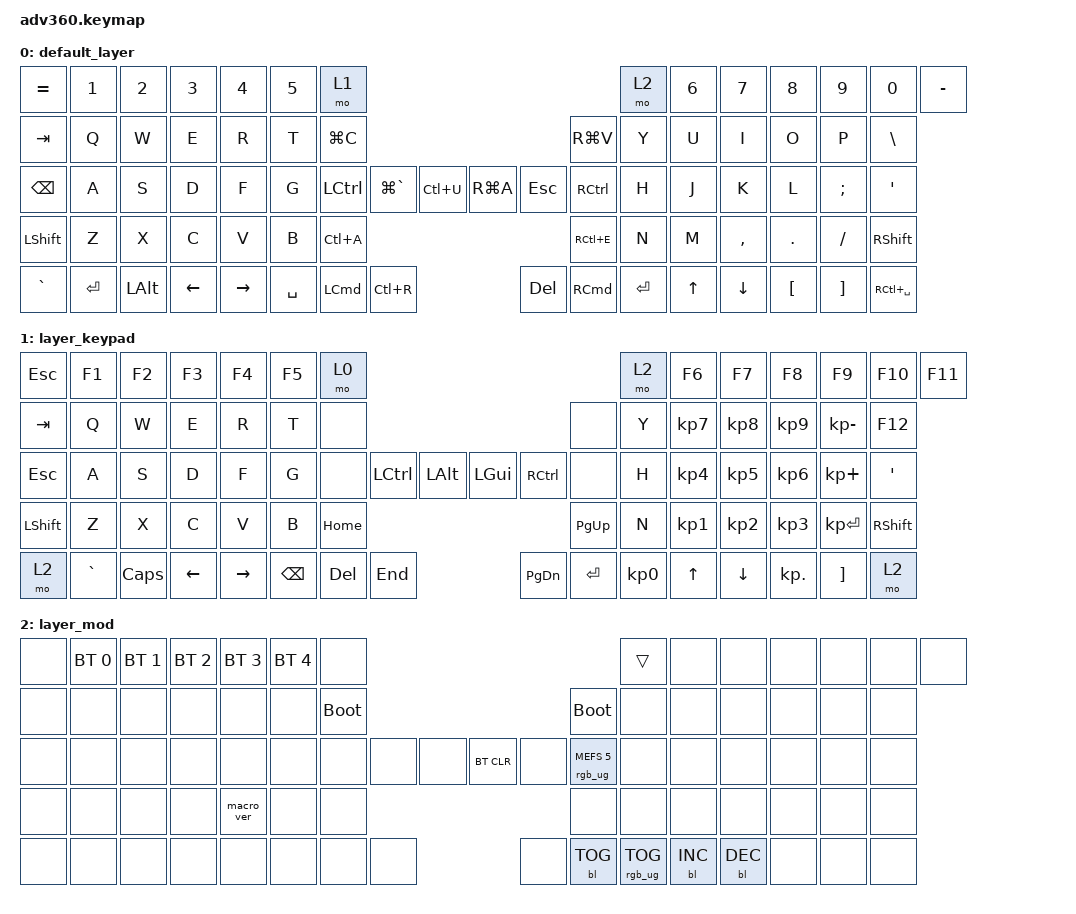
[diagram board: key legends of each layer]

/*
 * Copyright (c) 2020 The ZMK Contributors
 *
 * SPDX-License-Identifier: MIT
 */


/* THIS FILE WAS GENERATED!
 *
 * This file was generated automatically. You may or may not want to
 * edit it directly.
 */

#include <behaviors.dtsi>
#include <dt-bindings/zmk/keys.h>
#include <dt-bindings/zmk/bt.h>
#include <dt-bindings/zmk/rgb.h>
#include <dt-bindings/zmk/backlight.h>

/ {
  behaviors {
    #include "macros.dtsi"
    #include "version.dtsi"

    hm: homerow_mods {
        compatible = "zmk,behavior-hold-tap";
        label = "HOMEROW_MODS";
        #binding-cells = <2>;
        tapping-term-ms = <200>;
        quick_tap_ms = <175>;
        flavor = "tap-preferred";
        bindings = <&kp>, <&kp>;
    };
  };

    keymap {
        compatible = "zmk,keymap";


        default_layer {
            bindings = <
     &kp EQUAL     &kp N1    &kp N2    &kp N3     &kp N4  &kp N5                &mo 1                                                                                  &mo 2  &kp N6  &kp N7     &kp N8    &kp N9    &kp N0      &kp MINUS
       &kp TAB      &kp Q     &kp W     &kp E      &kp R   &kp T            &kp LG(C)                                                                              &kp RG(V)   &kp Y   &kp U      &kp I     &kp O     &kp P       &kp BSLH
 &kp BACKSPACE      &kp A     &kp S     &kp D      &kp F   &kp G            &kp LCTRL     &kp LG(GRAVE)  &kp LC(U)                   &kp RG(A)         &kp ESCAPE  &kp RCTRL   &kp H   &kp J      &kp K     &kp L  &kp SEMI        &kp SQT
     &kp LSHFT      &kp Z     &kp X     &kp C      &kp V   &kp B                                         &kp LC(A)                   &kp RC(E)                                 &kp N   &kp M  &kp COMMA   &kp DOT  &kp FSLH      &kp RSHFT
     &kp GRAVE  &kp ENTER  &kp LALT  &kp LEFT  &kp RIGHT                    &kp SPACE  &kp LEFT_COMMAND  &kp LC(R)                  &kp DELETE  &kp RIGHT_COMMAND  &kp ENTER          &kp UP   &kp DOWN  &kp LBKT  &kp RBKT  &kp RC(SPACE)
            >;
        };

        layer_keypad {
            bindings = <
 &kp ESCAPE     &kp F1    &kp F2    &kp F3     &kp F4  &kp F5               &mo 0                                                                 &mo 2  &kp F6     &kp F7     &kp F8      &kp F9       &kp F10    &kp F11
    &kp TAB      &kp Q     &kp W     &kp E      &kp R   &kp T               &none                                                                 &none   &kp Y  &kp KP_N7  &kp KP_N8   &kp KP_N9  &kp KP_MINUS    &kp F12
    &kp ESC      &kp A     &kp S     &kp D      &kp F   &kp G               &none  &kp LCTRL  &kp LALT                   &kp LGUI  &kp RCTRL      &none   &kp H  &kp KP_N4  &kp KP_N5   &kp KP_N6   &kp KP_PLUS    &kp SQT
  &kp LSHFT      &kp Z     &kp X     &kp C      &kp V   &kp B                                 &kp HOME                  &kp PG_UP                         &kp N  &kp KP_N1  &kp KP_N2   &kp KP_N3  &kp KP_ENTER  &kp RSHFT
      &mo 2  &kp GRAVE  &kp CAPS  &kp LEFT  &kp RIGHT                    &kp BSPC    &kp DEL   &kp END                  &kp PG_DN  &kp ENTER  &kp KP_N0             &kp UP   &kp DOWN  &kp KP_DOT      &kp RBKT      &mo 2
            >;
        };

        layer_mod {
            bindings = <
  &none  &bt BT_SEL 0  &bt BT_SEL 1  &bt BT_SEL 2  &bt BT_SEL 3  &bt BT_SEL 4                  &none                                                                          &trans   &none       &none       &none   &none   &none   &none
  &none         &none         &none         &none         &none         &none            &bootloader                                                                     &bootloader   &none       &none       &none   &none   &none   &none
  &none         &none         &none         &none         &none         &none                  &none   &none   &none                  &bt BT_CLR       &none  &rgb_ug RGB_MEFS_CMD 5   &none       &none       &none   &none   &none   &none
  &none         &none         &none         &none    &macro_ver         &none                                  &none                       &none                                       &none       &none       &none   &none   &none   &none
  &none         &none         &none         &none         &none                                &none   &none   &none                       &none  &bl BL_TOG         &rgb_ug RGB_TOG          &bl BL_INC  &bl BL_DEC   &none   &none   &none
            >;
        };

    };
};
